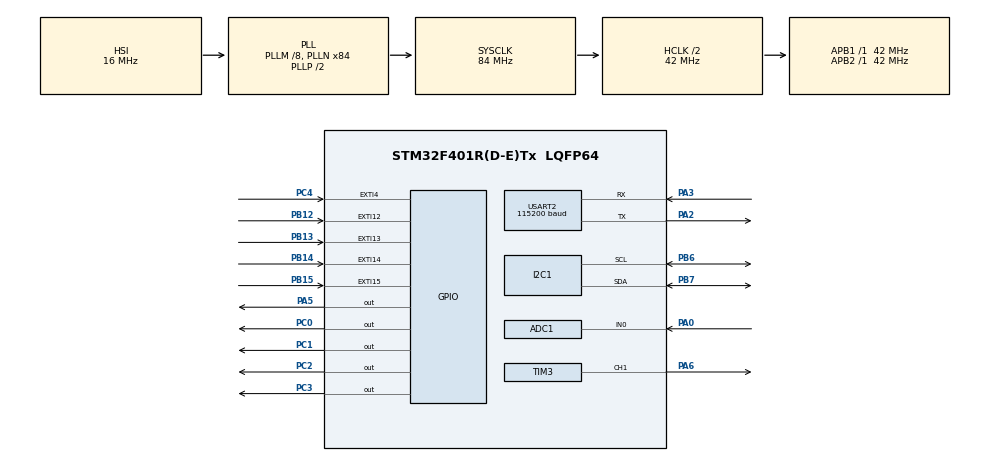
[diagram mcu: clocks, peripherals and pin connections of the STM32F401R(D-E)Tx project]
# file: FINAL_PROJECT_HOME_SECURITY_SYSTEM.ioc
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ADC1.Channel-0\#ChannelRegularConversion=ADC_CHANNEL_0
ADC1.ContinuousConvMode=DISABLE
ADC1.DMAContinuousRequests=DISABLE
ADC1.EOCSelection=ADC_EOC_SINGLE_CONV
ADC1.EnableAnalogWatchDog=true
ADC1.HighThreshold=2500
ADC1.ITMode=ENABLE
ADC1.NbrOfConversionFlag=1
ADC1.Rank-0\#ChannelRegularConversion=1
ADC1.SamplingTime-0\#ChannelRegularConversion=ADC_SAMPLETIME_3CYCLES
ADC1.ScanConvMode=DISABLE
ADC1.master=1
Dma.ADC1.3.Direction=DMA_PERIPH_TO_MEMORY
Dma.ADC1.3.FIFOMode=DMA_FIFOMODE_DISABLE
Dma.ADC1.3.Instance=DMA2_Stream0
Dma.ADC1.3.MemDataAlignment=DMA_MDATAALIGN_HALFWORD
Dma.ADC1.3.MemInc=DMA_MINC_ENABLE
Dma.ADC1.3.Mode=DMA_NORMAL
Dma.ADC1.3.PeriphDataAlignment=DMA_PDATAALIGN_HALFWORD
Dma.ADC1.3.PeriphInc=DMA_PINC_DISABLE
Dma.ADC1.3.Priority=DMA_PRIORITY_LOW
Dma.I2C1_RX.2.Direction=DMA_PERIPH_TO_MEMORY
Dma.I2C1_RX.2.FIFOMode=DMA_FIFOMODE_DISABLE
Dma.I2C1_RX.2.Instance=DMA1_Stream0
Dma.I2C1_RX.2.MemDataAlignment=DMA_MDATAALIGN_BYTE
Dma.I2C1_RX.2.MemInc=DMA_MINC_ENABLE
Dma.I2C1_RX.2.Mode=DMA_NORMAL
Dma.I2C1_RX.2.PeriphDataAlignment=DMA_PDATAALIGN_BYTE
Dma.I2C1_RX.2.PeriphInc=DMA_PINC_DISABLE
Dma.I2C1_RX.2.Priority=DMA_PRIORITY_LOW
Dma.Request0=USART2_RX
Dma.Request1=USART2_TX
Dma.Request2=I2C1_RX
Dma.Request3=ADC1
Dma.USART2_RX.0.Direction=DMA_PERIPH_TO_MEMORY
Dma.USART2_RX.0.FIFOMode=DMA_FIFOMODE_DISABLE
Dma.USART2_RX.0.Instance=DMA1_Stream5
Dma.USART2_RX.0.MemDataAlignment=DMA_MDATAALIGN_BYTE
Dma.USART2_RX.0.MemInc=DMA_MINC_ENABLE
Dma.USART2_RX.0.Mode=DMA_NORMAL
Dma.USART2_RX.0.PeriphDataAlignment=DMA_PDATAALIGN_BYTE
Dma.USART2_RX.0.PeriphInc=DMA_PINC_DISABLE
Dma.USART2_RX.0.Priority=DMA_PRIORITY_LOW
Dma.USART2_TX.1.Direction=DMA_MEMORY_TO_PERIPH
Dma.USART2_TX.1.FIFOMode=DMA_FIFOMODE_DISABLE
Dma.USART2_TX.1.Instance=DMA1_Stream6
Dma.USART2_TX.1.MemDataAlignment=DMA_MDATAALIGN_BYTE
Dma.USART2_TX.1.MemInc=DMA_MINC_ENABLE
Dma.USART2_TX.1.Mode=DMA_NORMAL
Dma.USART2_TX.1.PeriphDataAlignment=DMA_PDATAALIGN_BYTE
Dma.USART2_TX.1.PeriphInc=DMA_PINC_DISABLE
Dma.USART2_TX.1.Priority=DMA_PRIORITY_LOW
Mcu.Family=STM32F4
Mcu.Name=STM32F401R(D-E)Tx
Mcu.Package=LQFP64
NVIC.ADC_IRQn=true\:0\:0\:false\:false\:true\:true\:true
NVIC.DMA1_Stream0_IRQn=true\:0\:0\:false\:false\:true\:false\:true
NVIC.DMA1_Stream5_IRQn=true\:0\:0\:false\:false\:true\:false\:true
NVIC.DMA1_Stream6_IRQn=true\:0\:0\:false\:false\:true\:false\:true
NVIC.DMA2_Stream0_IRQn=true\:0\:0\:false\:false\:true\:false\:true
NVIC.PriorityGroup=NVIC_PRIORITYGROUP_4
NVIC.TIM1_BRK_TIM9_IRQn=true\:0\:0\:false\:false\:true\:true\:true
NVIC.TIM1_TRG_COM_TIM11_IRQn=true\:0\:0\:false\:false\:true\:true\:true
NVIC.TIM1_UP_TIM10_IRQn=true\:0\:0\:false\:false\:true\:true\:true
NVIC.TIM2_IRQn=true\:0\:0\:false\:false\:true\:true\:true
NVIC.TIM3_IRQn=true\:0\:0\:false\:false\:true\:true\:true
NVIC.USART2_IRQn=true\:0\:0\:false\:false\:true\:true\:true
PA0-WKUP.Signal=ADCx_IN0
PA2.Mode=Asynchronous
PA2.Signal=USART2_TX
PA3.Mode=Asynchronous
PA3.Signal=USART2_RX
PA5.Signal=GPIO_Output
PA6.Signal=S_TIM3_CH1
PB12.GPIO_PuPd=GPIO_PULLDOWN
PB12.Signal=GPXTI12
PB13.GPIO_PuPd=GPIO_PULLDOWN
PB13.Signal=GPXTI13
PB14.GPIO_PuPd=GPIO_PULLDOWN
PB14.Signal=GPXTI14
PB15.GPIO_PuPd=GPIO_PULLDOWN
PB15.Signal=GPXTI15
PB6.Mode=I2C
PB6.Signal=I2C1_SCL
PB7.Mode=I2C
PB7.Signal=I2C1_SDA
PC0.Signal=GPIO_Output
PC1.Signal=GPIO_Output
PC2.Signal=GPIO_Output
PC3.Signal=GPIO_Output
PC4.GPIO_ModeDefaultEXTI=GPIO_MODE_IT_RISING_FALLING
PC4.Signal=GPXTI4
PH0\ -\ OSC_IN.Mode=HSE-External-Oscillator
PH0\ -\ OSC_IN.Signal=RCC_OSC_IN
PH1\ -\ OSC_OUT.Mode=HSE-External-Oscillator
PH1\ -\ OSC_OUT.Signal=RCC_OSC_OUT
ProjectManager.HeapSize=0x200
ProjectManager.StackSize=0x400
ProjectManager.TargetToolchain=STM32CubeIDE
RCC.48MHZClocksFreq_Value=42000000
RCC.AHBCLKDivider=RCC_SYSCLK_DIV2
RCC.AHBFreq_Value=42000000
RCC.APB1Freq_Value=42000000
RCC.APB1TimFreq_Value=42000000
RCC.APB2Freq_Value=42000000
RCC.APB2TimFreq_Value=42000000
RCC.CortexFreq_Value=42000000
RCC.HCLKFreq_Value=42000000
RCC.HSE_VALUE=25000000
RCC.HSI_VALUE=16000000
RCC.LSE_VALUE=32768
RCC.PLLM=8
RCC.PLLN=84
RCC.SYSCLKFreq_VALUE=84000000
RCC.SYSCLKSource=RCC_SYSCLKSOURCE_PLLCLK
RCC.VCOOutputFreq_Value=168000000
SH.ADCx_IN0.0=ADC1_IN0,IN0
SH.S_TIM3_CH1.0=TIM3_CH1,PWM Generation1 CH1
TIM1.Period=29999
TIM1.Prescaler=41999
TIM10.Period=10150
TIM10.Prescaler=41999
TIM11.Period=99
TIM11.Prescaler=41999
TIM2.Period=49
TIM2.Prescaler=41999
TIM3.Channel-PWM\ Generation1\ CH1=TIM_CHANNEL_1
TIM3.Period=999
TIM3.Prescaler=41999
TIM9.Period=999
TIM9.Prescaler=41999
USART2.BaudRate=115200
USART2.Parity=PARITY_NONE
USART2.VirtualMode=VM_ASYNC
VP_TIM10_VS_ClockSourceINT.Mode=Enable_Timer
VP_TIM11_VS_ClockSourceINT.Mode=Enable_Timer
VP_TIM1_VS_ClockSourceINT.Mode=Internal
VP_TIM1_VS_OPM.Mode=OPM_bit
VP_TIM2_VS_ClockSourceINT.Mode=Internal
VP_TIM3_VS_ClockSourceINT.Mode=Internal
VP_TIM9_VS_ClockSourceINT.Mode=Internal
board=custom

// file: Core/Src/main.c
/* USER CODE BEGIN Header */
/**
 ******************************************************************************
 * @file           : main.c
 * @brief          : Main program body
 ******************************************************************************
 * @attention
 *
 * <h2><center>&copy; Copyright (c) 2020 STMicroelectronics.
 * All rights reserved.</center></h2>
 *
 * This software component is licensed by ST under BSD 3-Clause license,
 * the "License"; You may not use this file except in compliance with the
 * License. You may obtain a copy of the License at:
 *                        opensource.org/licenses/BSD-3-Clause
 *
 ******************************************************************************
 */
/* USER CODE END Header */

#include "main.h"
#include "adc.h"
#include "dma.h"
#include "i2c.h"
#include "tim.h"
#include "usart.h"
#include "gpio.h"

/* USER CODE BEGIN Includes */
#include "console.h"
#include "rtc_ds1307.h"
#include "configuration.h"
#include "photoresistor.h"
#include "pir_sensor.h"
#include "buzzer.h"
#include "keypad.h"
#include "logger.h"
/* USER CODE END Includes */

/* USER CODE BEGIN PV */

/* Variable used to enable or disable commands */
uint8_t system_state = SYSTEM_STATE_DISABLED;

/* Used keypad */
TKeypad keypad;

/* Used buzzer */
TBuzzer buzzer;

/* Used logger */
TLogger logger;

/* Used PIR sensor */
TPIR_sensor pir;

/* Used photoresistor */
TPhotoresistor photoresistor;

/* USER CODE END PV */

void SystemClock_Config(void);
/* USER CODE BEGIN PFP */
void configure_photoresistor();
void configure_PIR_sensor();
/* USER CODE END PFP */

int main(void)
{

  /* MCU Configuration--------------------------------------------------------*/

  /* Reset of all peripherals, Initializes the Flash interface and the Systick. */
  HAL_Init();

  /* Configure the system clock */
  SystemClock_Config();

  /* USER CODE BEGIN SysInit */
	console_init(&huart2);
  /* USER CODE END SysInit */

  /* Initialize all configured peripherals */
  MX_GPIO_Init();
  MX_DMA_Init();
  MX_I2C1_Init();
  MX_TIM10_Init();
  MX_USART2_UART_Init();
  MX_TIM1_Init();
  MX_TIM11_Init();
  MX_ADC1_Init();
  MX_TIM3_Init();
  MX_TIM2_Init();
  MX_TIM9_Init();
  /* USER CODE BEGIN 2 */
	rtc_ds1307_init(get_configuration()->datetime);
	system_boot();
	HAL_GPIO_WritePin(GPIOA, GPIO_PIN_5, GPIO_PIN_SET);

	KEYPAD_init_default(&keypad);
	buzzer_init(&buzzer, &htim3, TIM_CHANNEL_1);
	configure_PIR_sensor();
	configure_photoresistor();
	logger_init(&logger, get_console(NULL)->huart, &pir, &photoresistor);

	logger_print(&logger, "System boot");
	HAL_TIM_Base_Start_IT(&htim10);
  /* USER CODE END 2 */

  /* Infinite loop */
	while (1) {

	}
}

void SystemClock_Config(void)
{
  RCC_OscInitTypeDef RCC_OscInitStruct = {0};
  RCC_ClkInitTypeDef RCC_ClkInitStruct = {0};

  /** Configure the main internal regulator output voltage
  */
  __HAL_RCC_PWR_CLK_ENABLE();
  __HAL_PWR_VOLTAGESCALING_CONFIG(PWR_REGULATOR_VOLTAGE_SCALE2);
  /** Initializes the CPU, AHB and APB busses clocks
  */
  RCC_OscInitStruct.OscillatorType = RCC_OSCILLATORTYPE_HSI;
  RCC_OscInitStruct.HSIState = RCC_HSI_ON;
  RCC_OscInitStruct.HSICalibrationValue = RCC_HSICALIBRATION_DEFAULT;
  RCC_OscInitStruct.PLL.PLLState = RCC_PLL_ON;
  RCC_OscInitStruct.PLL.PLLSource = RCC_PLLSOURCE_HSI;
  RCC_OscInitStruct.PLL.PLLM = 8;
  RCC_OscInitStruct.PLL.PLLN = 84;
  RCC_OscInitStruct.PLL.PLLP = RCC_PLLP_DIV2;
  RCC_OscInitStruct.PLL.PLLQ = 4;
  if (HAL_RCC_OscConfig(&RCC_OscInitStruct) != HAL_OK)
  {
    Error_Handler();
  }
  /** Initializes the CPU, AHB and APB busses clocks
  */
  RCC_ClkInitStruct.ClockType = RCC_CLOCKTYPE_HCLK|RCC_CLOCKTYPE_SYSCLK
                              |RCC_CLOCKTYPE_PCLK1|RCC_CLOCKTYPE_PCLK2;
  RCC_ClkInitStruct.SYSCLKSource = RCC_SYSCLKSOURCE_PLLCLK;
  RCC_ClkInitStruct.AHBCLKDivider = RCC_SYSCLK_DIV2;
  RCC_ClkInitStruct.APB1CLKDivider = RCC_HCLK_DIV1;
  RCC_ClkInitStruct.APB2CLKDivider = RCC_HCLK_DIV1;

  if (HAL_RCC_ClockConfig(&RCC_ClkInitStruct, FLASH_LATENCY_1) != HAL_OK)
  {
    Error_Handler();
  }
}

/* USER CODE BEGIN 4 */
void configure_photoresistor() {
	uint8_t area_alarm_delay = get_configuration()->area_alarm_delay;
	uint8_t alarm_duration = get_configuration()->alarm_duration;
	photoresistor_init(&photoresistor, area_alarm_delay, alarm_duration, &htim2,
			&hadc1, &buzzer);
}

void configure_PIR_sensor() {
	uint8_t barrier_alarm_delay = get_configuration()->barrier_alarm_delay;
	uint8_t alarm_duration = get_configuration()->alarm_duration;
	PIR_sensor_init(&pir, barrier_alarm_delay, alarm_duration, EXTI4_IRQn,
			GPIOC, GPIO_PIN_4, &htim9, &buzzer);
}

/* USER CODE END 4 */

void Error_Handler(void)
{
}

/************************ (C) COPYRIGHT STMicroelectronics *****END OF FILE****/
